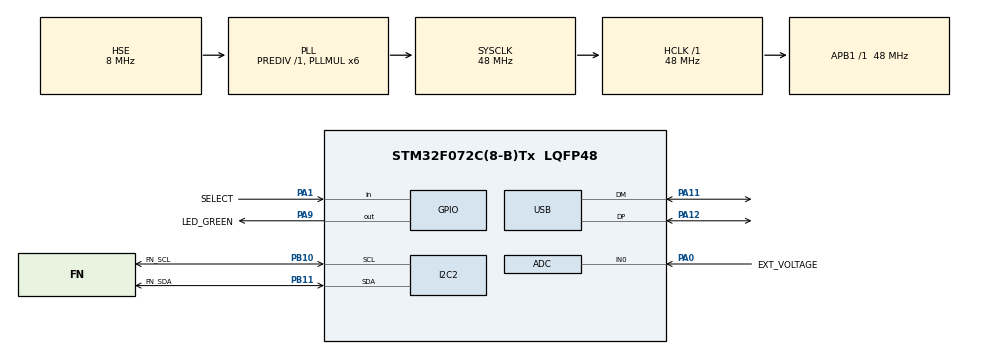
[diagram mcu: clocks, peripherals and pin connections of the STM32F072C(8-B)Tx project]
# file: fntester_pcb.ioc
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ADC.ClockPrescaler=ADC_CLOCK_ASYNC_DIV1
ADC.ContinuousConvMode=ENABLE
ADC.DMAContinuousRequests=DISABLE
ADC.DiscontinuousConvMode=DISABLE
ADC.EOCSelection=ADC_EOC_SINGLE_CONV
ADC.SamplingTime=ADC_SAMPLETIME_28CYCLES_5
Dma.ADC.0.Direction=DMA_PERIPH_TO_MEMORY
Dma.ADC.0.Instance=DMA1_Channel1
Dma.ADC.0.MemDataAlignment=DMA_MDATAALIGN_HALFWORD
Dma.ADC.0.MemInc=DMA_MINC_ENABLE
Dma.ADC.0.Mode=DMA_CIRCULAR
Dma.ADC.0.PeriphDataAlignment=DMA_PDATAALIGN_HALFWORD
Dma.ADC.0.PeriphInc=DMA_PINC_DISABLE
Dma.ADC.0.Priority=DMA_PRIORITY_LOW
Dma.Request0=ADC
I2C2.Timing=0x20303E5D
Mcu.Family=STM32F0
Mcu.Name=STM32F072C(8-B)Tx
Mcu.Package=LQFP48
NVIC.DMA1_Channel1_IRQn=true\:0\:0\:false\:false\:true\:false\:true\:true
NVIC.USB_IRQn=true\:0\:0\:false\:false\:true\:true\:false\:true
PA0.GPIO_Label=EXT_VOLTAGE
PA0.Mode=IN0
PA0.Signal=ADC_IN0
PA1.GPIO_Label=SELECT
PA1.Signal=GPIO_Input
PA11.Mode=Device
PA11.Signal=USB_DM
PA12.Mode=Device
PA12.Signal=USB_DP
PA13.Mode=Serial_Wire
PA13.Signal=SYS_SWDIO
PA14.Mode=Serial_Wire
PA14.Signal=SYS_SWCLK
PA9.GPIO_Label=LED_GREEN
PA9.Signal=GPIO_Output
PB10.GPIO_Label=FN_SCL
PB10.GPIO_Pu=GPIO_NOPULL
PB10.Mode=I2C
PB10.Signal=I2C2_SCL
PB11.GPIO_Label=FN_SDA
PB11.GPIO_Pu=GPIO_NOPULL
PB11.Mode=I2C
PB11.Signal=I2C2_SDA
PF0-OSC_IN.Mode=HSE-External-Oscillator
PF0-OSC_IN.Signal=RCC_OSC_IN
PF1-OSC_OUT.Mode=HSE-External-Oscillator
PF1-OSC_OUT.Signal=RCC_OSC_OUT
ProjectManager.HeapSize=0x400
ProjectManager.StackSize=0x400
ProjectManager.TargetToolchain=Makefile
RCC.AHBFreq_Value=48000000
RCC.APB1Freq_Value=48000000
RCC.APB1TimFreq_Value=48000000
RCC.HCLKFreq_Value=48000000
RCC.PLLMUL=RCC_PLL_MUL6
RCC.RTCClockSelection=RCC_RTCCLKSOURCE_HSE_DIV32
RCC.SYSCLKFreq_VALUE=48000000
RCC.SYSCLKSource=RCC_SYSCLKSOURCE_PLLCLK
RCC.USBClockSelection=RCC_USBCLKSOURCE_PLL
RCC.USBFreq_Value=48000000
RTC.Format=RTC_FORMAT_BIN
TIM6.Prescaler=47
TIM7.Prescaler=47
VP_ADC_Vbat_Input.Mode=IN-Vbat
VP_ADC_Vref_Input.Mode=IN-Vrefint
VP_RTC_VS_RTC_Activate.Mode=RTC_Enabled
VP_RTC_VS_RTC_Calendar.Mode=RTC_Calendar
VP_TIM6_VS_ClockSourceINT.Mode=Enable_Timer
VP_TIM7_VS_ClockSourceINT.Mode=Enable_Timer
board=custom

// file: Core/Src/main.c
/* USER CODE BEGIN Header */
/**
  ******************************************************************************
  * @file           : main.c
  * @brief          : Main program body
  ******************************************************************************
  * @attention
  *
  * Copyright (c) 2026 STMicroelectronics.
  * All rights reserved.
  *
  * This software is licensed under terms that can be found in the LICENSE file
  * in the root directory of this software component.
  * If no LICENSE file comes with this software, it is provided AS-IS.
  *
  ******************************************************************************
  */
/* USER CODE END Header */
#include "main.h"
#include "adc.h"
#include "dma.h"
#include "i2c.h"
#include "rtc.h"
#include "tim.h"
#include "gpio.h"

/* USER CODE BEGIN Includes */
#include "app/application.h"
#include "app/system/systick.h"
#include "app/utils/itick_timer.h"
#include "app/utils/itimer.h"

#include "libs/SoftwareTimer/SoftTimers.h"
/* USER CODE END Includes */

/* USER CODE BEGIN PTD */
//>>---------------------- Log control
#define LOG_MODULE_NAME main
#define LOG_MODULE_LEVEL (3)
#include "log_libs.h"
//<<----------------------
/* USER CODE END PTD */

void SystemClock_Config(void);

int main(void)
{

  /* MCU Configuration--------------------------------------------------------*/

  /* Reset of all peripherals, Initializes the Flash interface and the Systick. */
  HAL_Init();

  /* Configure the system clock */
  SystemClock_Config();

  /* Initialize all configured peripherals */
  MX_GPIO_Init();
  MX_DMA_Init();
  MX_RTC_Init();
  MX_TIM7_Init();
  MX_TIM6_Init();
  MX_ADC_Init();
  MX_I2C2_Init();
  /* USER CODE BEGIN 2 */
  tt_init(&htim6);

  const stimer_init_ctx_t kInitCtx = {.enable_irq = app_timer_irq_enable,
                                      .disable_irq = app_timer_irq_disable};
  Timer_Init(&kInitCtx);

  LOG_INFO("SYSCLK = %lu", HAL_RCC_GetSysClockFreq());
  LOG_INFO("HCLK   = %lu", HAL_RCC_GetHCLKFreq());
  LOG_INFO("PCLK   = %lu", HAL_RCC_GetPCLK1Freq());

  application();
  /* USER CODE END 2 */

  /* Infinite loop */
  while (1)
  {

  }
}

void SystemClock_Config(void)
{
  RCC_OscInitTypeDef RCC_OscInitStruct = {0};
  RCC_ClkInitTypeDef RCC_ClkInitStruct = {0};
  RCC_PeriphCLKInitTypeDef PeriphClkInit = {0};

  /** Initializes the RCC Oscillators according to the specified parameters
  * in the RCC_OscInitTypeDef structure.
  */
  RCC_OscInitStruct.OscillatorType = RCC_OSCILLATORTYPE_HSI14|RCC_OSCILLATORTYPE_HSE;
  RCC_OscInitStruct.HSEState = RCC_HSE_ON;
  RCC_OscInitStruct.HSI14State = RCC_HSI14_ON;
  RCC_OscInitStruct.HSI14CalibrationValue = 16;
  RCC_OscInitStruct.PLL.PLLState = RCC_PLL_ON;
  RCC_OscInitStruct.PLL.PLLSource = RCC_PLLSOURCE_HSE;
  RCC_OscInitStruct.PLL.PLLMUL = RCC_PLL_MUL6;
  RCC_OscInitStruct.PLL.PREDIV = RCC_PREDIV_DIV1;
  if (HAL_RCC_OscConfig(&RCC_OscInitStruct) != HAL_OK)
  {
    Error_Handler();
  }

  /** Initializes the CPU, AHB and APB buses clocks
  */
  RCC_ClkInitStruct.ClockType = RCC_CLOCKTYPE_HCLK|RCC_CLOCKTYPE_SYSCLK
                              |RCC_CLOCKTYPE_PCLK1;
  RCC_ClkInitStruct.SYSCLKSource = RCC_SYSCLKSOURCE_PLLCLK;
  RCC_ClkInitStruct.AHBCLKDivider = RCC_SYSCLK_DIV1;
  RCC_ClkInitStruct.APB1CLKDivider = RCC_HCLK_DIV1;

  if (HAL_RCC_ClockConfig(&RCC_ClkInitStruct, FLASH_LATENCY_1) != HAL_OK)
  {
    Error_Handler();
  }
  PeriphClkInit.PeriphClockSelection = RCC_PERIPHCLK_USB|RCC_PERIPHCLK_RTC;
  PeriphClkInit.RTCClockSelection = RCC_RTCCLKSOURCE_HSE_DIV32;
  PeriphClkInit.UsbClockSelection = RCC_USBCLKSOURCE_PLL;

  if (HAL_RCCEx_PeriphCLKConfig(&PeriphClkInit) != HAL_OK)
  {
    Error_Handler();
  }
}

void Error_Handler(void)
{
  __disable_irq();
  while (1)
  {
  }
}
